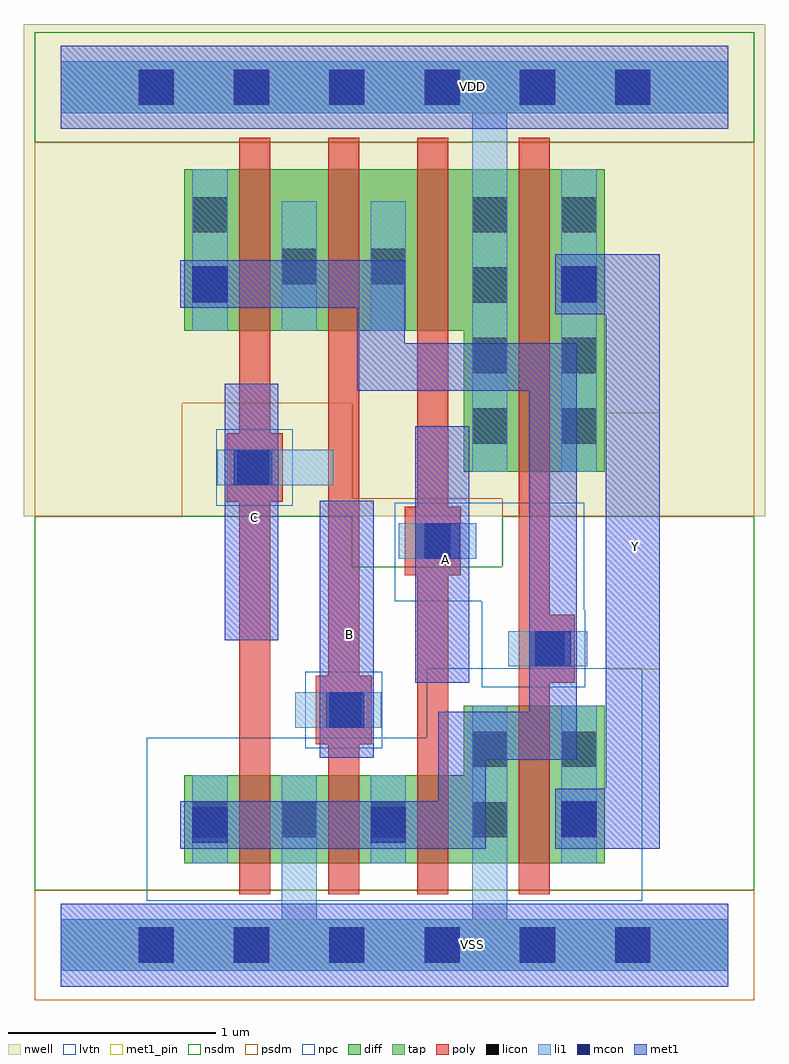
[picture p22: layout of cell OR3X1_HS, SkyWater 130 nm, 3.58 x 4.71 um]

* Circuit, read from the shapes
.subckt OR3X1_HS A B C VDD VSS Y
XM1 VSS C n1 VSS sky130_fd_pr__nfet_01v8_lvt w=0.425 l=0.15
XM2 n1 B VSS VSS sky130_fd_pr__nfet_01v8_lvt w=0.425 l=0.15
XM3 VSS A n1 VSS sky130_fd_pr__nfet_01v8_lvt w=0.425 l=0.15
XM4 Y n1 VSS VSS sky130_fd_pr__nfet_01v8_lvt w=0.76 l=0.15
XM5 n2 C n1 VDD sky130_fd_pr__pfet_01v8 w=0.78 l=0.15
XM6 n3 B n2 VDD sky130_fd_pr__pfet_01v8 w=0.78 l=0.15
XM7 VDD A n3 VDD sky130_fd_pr__pfet_01v8 w=0.78 l=0.15
XM8 Y n1 VDD VDD sky130_fd_pr__pfet_01v8 w=1.46 l=0.15
.ends

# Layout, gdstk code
from math import pi, radians
import gdstk
lib = gdstk.Library(unit=1e-6, precision=1e-09)
def R(c, l, rs):  # rectangles x0, y0, x1, y1
    for r in rs: c.add(gdstk.rectangle(r[:2], r[2:], *l))
def A(c, l, x, y, w, h, nx, ny, dx, dy):  # array of equal rectangles
    R(c, l, [(x+i*dx, y+j*dy, x+i*dx+w, y+j*dy+h) for i in range(nx) for j in range(ny)])
def P(c, l, *ps):  # polygons
    for p in ps: c.add(gdstk.Polygon(p, *l))
nwell = (64, 20)
diff = (65, 20)
tap = (65, 44)
poly = (66, 20)
licon = (66, 44)
li1 = (67, 20)
mcon = (67, 44)
met1_pin = (68, 16)
met1 = (68, 20)
nsdm = (93, 44)
psdm = (94, 20)
npc = (95, 20)
lvtn = (125, 44)

l1m1_c_cdns_758729172867 = lib.new_cell('L1M1_C_CDNS_758729172867')
R(l1m1_c_cdns_758729172867, li1, [(-0.085,-0.085,0.085,0.165)])
R(l1m1_c_cdns_758729172867, mcon, [(-0.085,-0.085,0.085,0.085)])
R(l1m1_c_cdns_758729172867, met1, [(-0.115,-0.145,0.115,0.145)])

l1m1_c_cdns_758729172861 = lib.new_cell('L1M1_C_CDNS_758729172861')
R(l1m1_c_cdns_758729172861, li1, [(-0.085,-0.165,0.085,0.165)])
R(l1m1_c_cdns_758729172861, mcon, [(-0.085,-0.085,0.085,0.085)])
R(l1m1_c_cdns_758729172861, met1, [(-0.115,-0.145,0.115,0.145)])

pyl1con_c_cdns_758729172 = lib.new_cell('PYL1CON_C_CDNS_758729172862')
R(pyl1con_c_cdns_758729172, poly, [(-0.135,-0.165,0.135,0.165)])
R(pyl1con_c_cdns_758729172, licon, [(-0.085,-0.085,0.085,0.085)])
R(pyl1con_c_cdns_758729172, npc, [(-0.185,-0.185,0.185,0.185)])

l1m1_c_cdns_758729172860 = lib.new_cell('L1M1_C_CDNS_758729172860')
R(l1m1_c_cdns_758729172860, li1, [(-0.165,-0.085,0.165,0.085)])
R(l1m1_c_cdns_758729172860, mcon, [(-0.085,-0.085,0.085,0.085)])
R(l1m1_c_cdns_758729172860, met1, [(-0.115,-0.145,0.115,0.145)])

l1m1_c_cdns_758729172863 = lib.new_cell('L1M1_C_CDNS_758729172863')
R(l1m1_c_cdns_758729172863, li1, [(-0.085,-0.165,0.085,0.165)])
R(l1m1_c_cdns_758729172863, mcon, [(-0.085,-0.085,0.085,0.085)])
R(l1m1_c_cdns_758729172863, met1, [(-0.145,-0.115,0.145,0.115)])

licondiff_c_cdns_7587291 = lib.new_cell('LICONDIFF_C_CDNS_7587291728611')
R(licondiff_c_cdns_7587291, diff, [(-0.125,-0.145,0.125,0.145)])
R(licondiff_c_cdns_7587291, licon, [(-0.085,-0.085,0.085,0.085), (-0.085,-0.085,0.085,0.085)])

l1m1_c_cdns_758729172862 = lib.new_cell('L1M1_C_CDNS_7587291728625')
R(l1m1_c_cdns_758729172862, li1, [(-0.085,-0.085,0.085,0.165)])
R(l1m1_c_cdns_758729172862, mcon, [(-0.085,-0.085,0.085,0.085)])
R(l1m1_c_cdns_758729172862, met1, [(-0.145,-0.115,0.145,0.115)])

or3x1_hs = lib.new_cell('OR3X1_HS')
R(or3x1_hs, nwell, [(-0.18,2.07,3.4,4.445)])
P(or3x1_hs, diff, [(2.625,3.745),(0.595,3.745),(0.595,2.965),(1.945,2.965),(1.945,2.285),(2.625,2.285)],
  [(2.625,1.155),(1.945,1.155),(1.945,0.82),(0.595,0.82),(0.595,0.395),(2.625,0.395)])
A(or3x1_hs, poly, 0.86, 0.245, 0.15, 3.65, 3, 1, 0.43, 0)
R(or3x1_hs, poly, [(2.21,0.245,2.36,3.895)])
A(or3x1_hs, licon, 0.375, -0.085, 0.17, 0.17, 6, 2, 0.46, 4.14)
A(or3x1_hs, licon, 0.635, 0.52, 0.17, 0.17, 3, 1, 0.43, 0)
A(or3x1_hs, licon, 1.985, 2.42, 0.17, 0.17, 1, 4, 0, 0.34)
A(or3x1_hs, licon, 2.415, 2.42, 0.17, 0.17, 1, 4, 0, 0.34)
R(or3x1_hs, licon, [(1.985,0.52,2.155,0.69), (2.415,0.52,2.585,0.69), (1.985,0.86,2.155,1.03), (2.415,0.86,2.585,1.03), (0.635,3.1,0.805,3.27), (0.635,3.44,0.805,3.61)])
R(or3x1_hs, li1, [(0.635,0.395,0.805,0.82), (1.495,0.395,1.665,0.82), (2.415,0.395,2.585,1.155), (2.415,2.285,2.585,3.745), (0.635,2.965,0.805,3.745)])
P(or3x1_hs, li1, [(3.22,4.265),(0,4.265),(0,4.015),(1.985,4.015),(1.985,2.285),(2.155,2.285),(2.155,4.015),(3.22,4.015)],
  [(3.22,0.125),(2.155,0.125),(2.155,1.155),(1.985,1.155),(1.985,0.125),(1.235,0.125),(1.235,0.82),(1.065,0.82),(1.065,0.125),(0,0.125),(0,-0.125),(3.22,-0.125)])
A(or3x1_hs, mcon, 0.375, -0.085, 0.17, 0.17, 6, 2, 0.46, 4.14)
R(or3x1_hs, met1_pin, [(1.25,0.905,1.51,2.145), (1.71,1.265,1.97,2.505), (2.63,1.33,2.89,2.57), (0.79,1.47,1.05,2.71)])
P(or3x1_hs, met1, [(2.89,3.335),(2.5,3.335),(2.5,3.045),(2.63,3.045),(2.63,0.755),(2.47,0.755),(2.47,0.465),(2.89,0.465)])
R(or3x1_hs, nsdm, [(-0.125,3.875,3.345,4.405)])
P(or3x1_hs, nsdm, [(3.345,2.07),(2.13,2.07),(2.13,1.825),(1.405,1.825),(1.405,2.07),(-0.125,2.07),(-0.125,0.265),(3.345,0.265)])
R(or3x1_hs, psdm, [(-0.125,-0.265,3.345,0.265)])
P(or3x1_hs, psdm, [(3.345,3.875),(-0.125,3.875),(-0.125,2.07),(0.585,2.07),(0.585,2.615),(1.405,2.615),(1.405,2.155),(2.13,2.155),(2.13,2.07),(3.345,2.07)])
P(or3x1_hs, npc, [(2.525,2.135),(1.61,2.135),(1.61,1.66),(2.03,1.66),(2.03,1.245),(2.525,1.245)])
P(or3x1_hs, lvtn, [(2.805,1.335),(1.765,1.335),(1.765,1),(0.415,1),(0.415,0.215),(2.805,0.215)])
or3x1_hs.add(gdstk.FlexPath([(1.215,1.135),(1.38,1.135)], 0.17, ends=(0.085, 0), simple_path=True, layer=67, datatype=20))  # li1
or3x1_hs.add(gdstk.FlexPath([(0.77,2.305),(1.315,2.305)], 0.17, ends="flush", simple_path=True, layer=67, datatype=20))  # li1
or3x1_hs.add(gdstk.FlexPath([(2.16,1.43),(2.515,1.43)], 0.17, ends="flush", simple_path=True, layer=67, datatype=20))  # li1
or3x1_hs.add(gdstk.FlexPath([(1.15,2.965),(1.15,3.59)], 0.17, ends="flush", simple_path=True, layer=67, datatype=20))  # li1
or3x1_hs.add(gdstk.FlexPath([(1.58,2.965),(1.58,3.59)], 0.17, ends="flush", simple_path=True, layer=67, datatype=20))  # li1
or3x1_hs.add(gdstk.FlexPath([(1.84,1.95),(1.63,1.95)], 0.17, ends="flush", simple_path=True, layer=67, datatype=20))  # li1
or3x1_hs.add(gdstk.FlexPath([(0,4.14),(3.22,4.14)], 0.4, ends="flush", simple_path=True, layer=68, datatype=20))  # met1
or3x1_hs.add(gdstk.FlexPath([(0,0),(3.22,0)], 0.4, ends="flush", simple_path=True, layer=68, datatype=20))  # met1
or3x1_hs.add(gdstk.FlexPath([(0.92,1.47),(0.92,2.71)], 0.26, ends="flush", simple_path=True, layer=68, datatype=20))  # met1
or3x1_hs.add(gdstk.FlexPath([(1.38,0.905),(1.38,2.145)], 0.26, ends="flush", simple_path=True, layer=68, datatype=20))  # met1
or3x1_hs.add(gdstk.FlexPath([(1.84,1.265),(1.84,2.505)], 0.26, ends="flush", simple_path=True, layer=68, datatype=20))  # met1
or3x1_hs.add(gdstk.FlexPath([(0.735,3.19),(1.545,3.19),(1.545,2.79),(2.375,2.79),(2.375,1.01),(1.935,1.01),(1.935,0.58),(0.72,0.58)], 0.23, ends="flush", simple_path=True, layer=68, datatype=20))  # met1
or3x1_hs.add(gdstk.FlexPath([(0,0),(3.22,0)], 0.4, ends="flush", simple_path=True, layer=68, datatype=16))  # met1_pin
or3x1_hs.add(gdstk.FlexPath([(0,4.14),(3.22,4.14)], 0.4, ends="flush", simple_path=True, layer=68, datatype=16))  # met1_pin
or3x1_hs.add(gdstk.FlexPath([(0,4.14),(3.22,4.14)], 0.25, ends="flush", simple_path=True, layer=65, datatype=44))  # tap
or3x1_hs.add(gdstk.FlexPath([(0,0),(3.22,0)], 0.25, ends="flush", simple_path=True, layer=65, datatype=44))  # tap
or3x1_hs.add(gdstk.Reference(l1m1_c_cdns_758729172867, (2.5,0.61)))
or3x1_hs.add(gdstk.Reference(l1m1_c_cdns_758729172861, (2.5,3.19)))
or3x1_hs.add(gdstk.Reference(pyl1con_c_cdns_758729172, (0.935,2.305), rotation=pi, x_reflection=True))
or3x1_hs.add(gdstk.Reference(pyl1con_c_cdns_758729172, (1.365,1.135), rotation=pi))
or3x1_hs.add(gdstk.Reference(pyl1con_c_cdns_758729172, (1.795,1.95), rotation=pi))
or3x1_hs.add(gdstk.Reference(pyl1con_c_cdns_758729172, (2.345,1.43)))
or3x1_hs.add(gdstk.Reference(l1m1_c_cdns_758729172860, (1.38,1.135), x_reflection=True))
or3x1_hs.add(gdstk.Reference(l1m1_c_cdns_758729172860, (1.84,1.95), x_reflection=True))
or3x1_hs.add(gdstk.Reference(l1m1_c_cdns_758729172860, (2.375,1.43)))
or3x1_hs.add(gdstk.Reference(l1m1_c_cdns_758729172860, (0.92,2.305), x_reflection=True))
or3x1_hs.add(gdstk.Reference(l1m1_c_cdns_758729172863, (0.72,3.19)))
or3x1_hs.add(gdstk.Reference(licondiff_c_cdns_7587291, (1.15,3.275)))
or3x1_hs.add(gdstk.Reference(licondiff_c_cdns_7587291, (1.58,3.275)))
or3x1_hs.add(gdstk.Reference(l1m1_c_cdns_758729172862, (0.72,0.58)))
or3x1_hs.add(gdstk.Reference(l1m1_c_cdns_758729172862, (1.58,0.58)))
or3x1_hs.add(gdstk.Label('VSS', (1.985,0.005), layer=68, texttype=5))
or3x1_hs.add(gdstk.Label('VDD', (1.985,4.145), layer=68, texttype=5))
or3x1_hs.add(gdstk.Label('VDD', (1.985,4.145), layer=68, texttype=5))
or3x1_hs.add(gdstk.Label('B', (1.395,1.5), layer=68, texttype=5))
or3x1_hs.add(gdstk.Label('Y', (2.775,1.925), layer=68, texttype=5))
or3x1_hs.add(gdstk.Label('A', (1.855,1.86), layer=68, texttype=5))
or3x1_hs.add(gdstk.Label('C', (0.935,2.065), layer=68, texttype=5))

lib.write_gds('OR3X1_HS.gds')
